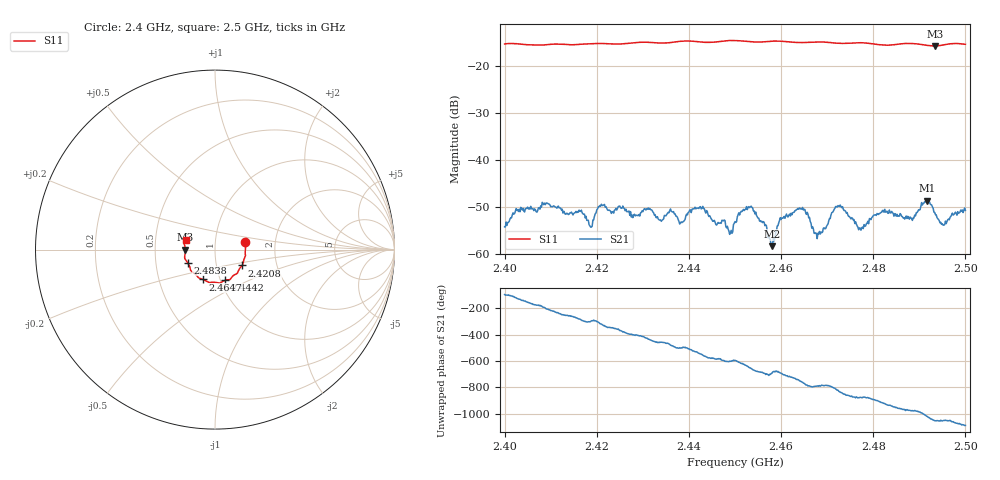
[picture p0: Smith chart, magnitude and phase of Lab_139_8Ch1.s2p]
# Hz S RI R 50
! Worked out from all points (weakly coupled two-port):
!   601 points, 2.4 GHz to 2.5 GHz, reference 50 ohm
!   highest |S21| = -48.63 dB at 2.4917 GHz (marker M1); lowest = -58.3 dB at 2.458 GHz (marker M2)
!   lowest |S11| = -15.6 dB at 2.4933 GHz (marker M3), VSWR 1.40, Z = 35.8 + j0.0292 ohm
!   |S11| at or under -10 dB: start of sweep to end of sweep
!   S12 and S22 are empty: the file has one direction only
!   S11 on the Smith chart (normalised r, x): 2.4 GHz: 1.40, +0.12; 2.4208 GHz: 1.33, -0.24; 2.4442 GHz: 1.05, -0.37; 2.4647 GHz: 0.83, -0.29; 2.4838 GHz: 0.73, -0.11; 2.5 GHz: 0.71, +0.08
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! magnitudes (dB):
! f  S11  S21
! 2.4 GHz  -15.2  -54.2
! 2.4087 GHz  -15.4  -49.1
! 2.4167 GHz  -15.3  -50.7
! 2.4188 GHz  -15.1  -54.3
! 2.4208 GHz  -15.1  -49.8
! 2.4333 GHz  -15.0  -52.5
! 2.4442 GHz  -14.9  -51.6
! 2.45 GHz  -14.5  -53.1
! 2.4533 GHz  -14.7  -50.0
! 2.458 GHz  -14.7  -58.3
! 2.4602 GHz  -14.7  -52.3
! 2.4647 GHz  -14.9  -50.1
! 2.4667 GHz  -14.8  -54.5
! 2.4683 GHz  -14.8  -55.2
! 2.4723 GHz  -15.1  -49.7
! 2.4773 GHz  -15.0  -54.9
! 2.4833 GHz  -15.5  -51.3
! 2.4838 GHz  -15.5  -51.3
! 2.4883 GHz  -15.1  -52.4
! 2.4917 GHz  -15.5  -48.6
! 2.4933 GHz  -15.6  -51.1
! 2.5 GHz  -15.3  -50.7
